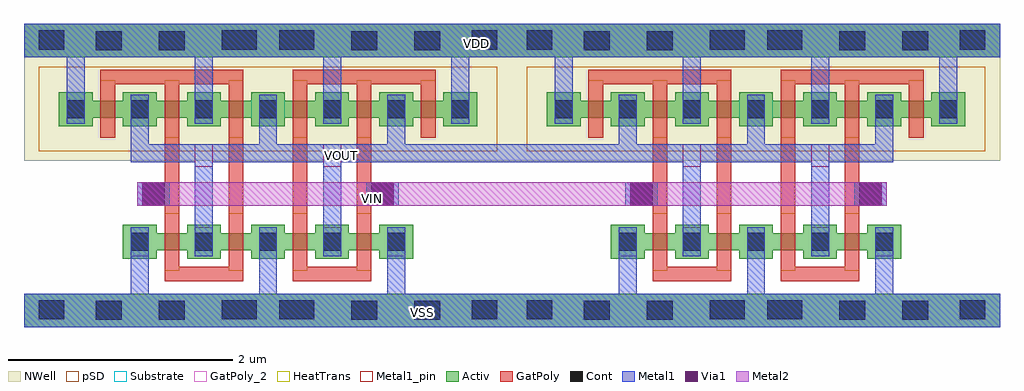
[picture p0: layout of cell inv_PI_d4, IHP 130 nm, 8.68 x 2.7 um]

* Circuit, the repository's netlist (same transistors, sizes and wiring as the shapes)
* Extracted by KLayout with SG13G2 LVS runset on : 14/01/2026 23:25

.SUBCKT inv_PI_d4 VSS VDD VIN VOUT
X$1 VSS VIN VOUT VDD inv_PI_d2
X$2 VSS VIN VOUT VDD inv_PI_d2
.ENDS inv_PI_d4

.SUBCKT inv_PI_d2 VSS VIN VOUT VDD
M$1 VSS VIN VOUT VSS sg13_lv_nmos L=0.13u W=0.6u AS=0.267p AD=0.267p PS=3.56u
+ PD=3.56u
M$5 VDD VIN VOUT VDD sg13_lv_pmos L=0.13u W=0.9u AS=0.378p AD=0.378p PS=5.04u
+ PD=5.04u
.ENDS inv_PI_d2

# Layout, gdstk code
from math import pi, radians
import gdstk
lib = gdstk.Library(unit=1e-6, precision=5e-09)
def R(c, l, rs):  # rectangles x0, y0, x1, y1
    for r in rs: c.add(gdstk.rectangle(r[:2], r[2:], *l))
def A(c, l, x, y, w, h, nx, ny, dx, dy):  # array of equal rectangles
    R(c, l, [(x+i*dx, y+j*dy, x+i*dx+w, y+j*dy+h) for i in range(nx) for j in range(ny)])
Activ = (1, 0)
GatPoly = (5, 0)
GatPoly_2 = (5, 2)
Cont = (6, 0)
Metal1 = (8, 0)
Metal1_pin = (8, 2)
Metal2 = (10, 0)
pSD = (14, 0)
Via1 = (19, 0)
NWell = (31, 0)
Substrate = (40, 0)
HeatTrans = (51, 0)

pmos_1 = lib.new_cell('pmos$1')
A(pmos_1, Activ, 0, 0, 0.3, 0.3, 4, 1, 0.57, 0)
R(pmos_1, Activ, [(0,0.075,2.01,0.225)])
A(pmos_1, GatPoly, 0.37, -0.105, 0.13, 0.51, 3, 1, 0.57, 0)
R(pmos_1, GatPoly, [(0.37,-0.105,0.5,0.405)])
A(pmos_1, Cont, 0.07, 0.07, 0.16, 0.16, 4, 1, 0.57, 0)
A(pmos_1, Metal1, 0.64, 0.02, 0.16, 0.26, 3, 1, 0.57, 0)
R(pmos_1, Metal1, [(0.07,0.02,0.23,0.28), (0.07,0.02,0.23,0.28), (0.64,0.02,0.8,0.28)])
R(pmos_1, pSD, [(-0.18,-0.225,2.19,0.525)])
R(pmos_1, NWell, [(-0.31,-0.31,2.32,0.61)])
R(pmos_1, Substrate, [(1.71,0,2.01,0.3)])
A(pmos_1, HeatTrans, 0.37, -0.105, 0.13, 0.51, 3, 1, 0.57, 0)
pmos_1.add(gdstk.Label('pmos', (0.435,0.15), layer=63, texttype=0))
pmos_1.add(gdstk.Label('pmos', (0.435,0.15), layer=51, texttype=0))
pmos_1.add(gdstk.Label('pmos', (1.005,0.15), layer=51, texttype=0))
pmos_1.add(gdstk.Label('pmos', (1.575,0.15), layer=51, texttype=0))

nmos = lib.new_cell('nmos')
A(nmos, Activ, 0, 0, 0.3, 0.3, 3, 1, 0.57, 0)
R(nmos, Activ, [(0,0.075,1.44,0.225)])
R(nmos, GatPoly, [(0.37,-0.105,0.5,0.405), (0.94,-0.105,1.07,0.405)])
R(nmos, GatPoly_2, [(0.37,-0.105,0.5,0.405)])
A(nmos, Cont, 0.07, 0.07, 0.16, 0.16, 3, 1, 0.57, 0)
A(nmos, Metal1, 0.07, 0.02, 0.16, 0.26, 3, 1, 0.57, 0)
R(nmos, Metal1_pin, [(0.07,0.02,0.23,0.28), (0.64,0.02,0.8,0.28)])
R(nmos, HeatTrans, [(0.37,-0.105,0.5,0.405), (0.94,-0.105,1.07,0.405)])
nmos.add(gdstk.Label('nmos', (0.435,0.15), layer=63, texttype=0))
nmos.add(gdstk.Label('nmos', (0.435,0.15), layer=51, texttype=0))
nmos.add(gdstk.Label('nmos', (1.005,0.15), layer=51, texttype=0))

pmos_1_1 = lib.new_cell('pmos$1$1')
A(pmos_1_1, Activ, 0, 0, 0.3, 0.3, 4, 1, 0.57, 0)
R(pmos_1_1, Activ, [(0,0.075,2.01,0.225)])
A(pmos_1_1, GatPoly, 0.37, -0.105, 0.13, 0.51, 3, 1, 0.57, 0)
R(pmos_1_1, GatPoly, [(0.37,-0.105,0.5,0.405)])
A(pmos_1_1, Cont, 0.07, 0.07, 0.16, 0.16, 4, 1, 0.57, 0)
A(pmos_1_1, Metal1, 0.64, 0.02, 0.16, 0.26, 3, 1, 0.57, 0)
R(pmos_1_1, Metal1, [(0.07,0.02,0.23,0.28), (0.07,0.02,0.23,0.28), (0.64,0.02,0.8,0.28)])
R(pmos_1_1, pSD, [(-0.18,-0.225,2.19,0.525)])
R(pmos_1_1, NWell, [(-0.31,-0.31,2.32,0.61)])
R(pmos_1_1, Substrate, [(1.71,0,2.01,0.3)])
A(pmos_1_1, HeatTrans, 0.37, -0.105, 0.13, 0.51, 3, 1, 0.57, 0)
pmos_1_1.add(gdstk.Label('pmos', (0.435,0.15), layer=63, texttype=0))
pmos_1_1.add(gdstk.Label('pmos', (0.435,0.15), layer=51, texttype=0))
pmos_1_1.add(gdstk.Label('pmos', (1.005,0.15), layer=51, texttype=0))
pmos_1_1.add(gdstk.Label('pmos', (1.575,0.15), layer=51, texttype=0))

nmos_1 = lib.new_cell('nmos$1')
A(nmos_1, Activ, 0, 0, 0.3, 0.3, 3, 1, 0.57, 0)
R(nmos_1, Activ, [(0,0.075,1.44,0.225)])
R(nmos_1, GatPoly, [(0.37,-0.105,0.5,0.405), (0.94,-0.105,1.07,0.405)])
R(nmos_1, GatPoly_2, [(0.37,-0.105,0.5,0.405)])
A(nmos_1, Cont, 0.07, 0.07, 0.16, 0.16, 3, 1, 0.57, 0)
A(nmos_1, Metal1, 0.07, 0.02, 0.16, 0.26, 3, 1, 0.57, 0)
R(nmos_1, Metal1_pin, [(0.07,0.02,0.23,0.28), (0.64,0.02,0.8,0.28)])
R(nmos_1, HeatTrans, [(0.37,-0.105,0.5,0.405), (0.94,-0.105,1.07,0.405)])
nmos_1.add(gdstk.Label('nmos', (0.435,0.15), layer=63, texttype=0))
nmos_1.add(gdstk.Label('nmos', (0.435,0.15), layer=51, texttype=0))
nmos_1.add(gdstk.Label('nmos', (1.005,0.15), layer=51, texttype=0))

inv_pi = lib.new_cell('inv_PI')
R(inv_pi, Activ, [(1.76,2.245,4.39,2.545), (1.76,2.245,4.39,2.545), (1.76,4.645,4.39,4.945), (1.76,4.645,4.39,4.945)])
R(inv_pi, GatPoly, [(3.01,2.655,3.14,4.535), (3.01,2.655,3.14,4.535), (3.01,2.655,3.71,2.785), (3.01,2.655,3.71,2.785), (3.58,2.655,3.71,4.535), (3.58,2.655,3.71,4.535), (2.81,3.33,3.01,3.53), (2.81,3.33,3.01,3.53), (2.44,3.93,2.57,4.535), (2.44,3.93,2.57,4.535), (2.44,4.405,3.71,4.535), (2.44,4.405,3.71,4.535)])
R(inv_pi, Cont, [(2.4,2.31,2.63,2.48), (2.4,2.31,2.63,2.48), (2.96,2.31,3.19,2.48), (2.96,2.31,3.19,2.48), (1.89,2.315,2.12,2.485), (1.89,2.315,2.12,2.485), (3.52,2.315,3.75,2.485), (3.52,2.315,3.75,2.485), (4.03,2.315,4.26,2.485), (4.03,2.315,4.26,2.485), (2.81,3.33,3.01,3.53), (2.81,3.33,3.01,3.53), (2.4,4.71,2.63,4.88), (2.4,4.71,2.63,4.88), (2.96,4.71,3.19,4.88), (2.96,4.71,3.19,4.88), (1.89,4.715,2.12,4.885), (1.89,4.715,2.12,4.885), (3.52,4.715,3.75,4.885), (3.52,4.715,3.75,4.885), (4.03,4.715,4.26,4.885), (4.03,4.715,4.26,4.885)])
R(inv_pi, Metal1, [(1.76,2.245,4.39,2.545), (1.76,2.245,4.39,2.545), (2.71,2.245,2.87,3.135), (2.71,2.245,2.87,3.135), (3.85,2.245,4.01,3.135), (3.85,2.245,4.01,3.135), (3.28,2.885,3.44,3.875), (3.28,2.885,3.44,3.875), (2.81,3.33,3.01,3.53), (2.81,3.33,3.01,3.53), (2.71,3.715,4.01,3.875), (2.71,3.715,4.01,3.875), (2.71,3.72,2.87,4.315), (2.71,3.72,2.87,4.315), (3.85,3.72,4.01,4.315), (3.85,3.72,4.01,4.315), (2.14,4.105,2.3,4.945), (2.14,4.105,2.3,4.945), (3.28,4.105,3.44,4.945), (3.28,4.105,3.44,4.945), (1.76,4.645,4.39,4.945), (1.76,4.645,4.39,4.945)])
R(inv_pi, Metal1_pin, [(1.76,2.245,4.39,2.545), (1.76,2.245,4.39,2.545), (2.81,3.33,3.01,3.53), (2.81,3.33,3.01,3.53), (3.28,3.675,3.44,3.875), (3.28,3.675,3.44,3.875), (1.76,4.645,4.39,4.945), (1.76,4.645,4.39,4.945)])
R(inv_pi, pSD, [(1.76,2.245,4.39,2.545), (1.76,2.245,4.39,2.545)])
R(inv_pi, NWell, [(1.76,4.645,4.39,4.945), (1.76,4.645,4.39,4.945)])
inv_pi.add(gdstk.Reference(pmos_1, (2.07,4.035)))
inv_pi.add(gdstk.Reference(nmos, (2.64,2.855)))
inv_pi.add(gdstk.Reference(pmos_1_1, (2.07,4.035)))
inv_pi.add(gdstk.Reference(nmos_1, (2.64,2.855)))
inv_pi.add(gdstk.Label('VDD', (3.075,4.795), layer=8, texttype=25))
inv_pi.add(gdstk.Label('VSS', (3.025,2.36), layer=8, texttype=25))
inv_pi.add(gdstk.Label('VIN', (2.85,3.365), layer=8, texttype=25))
inv_pi.add(gdstk.Label('VOUT', (3.28,3.75), layer=8, texttype=25))
inv_pi.add(gdstk.Label('VDD', (3.075,4.795), layer=8, texttype=25))
inv_pi.add(gdstk.Label('VSS', (3.025,2.36), layer=8, texttype=25))
inv_pi.add(gdstk.Label('VIN', (2.85,3.365), layer=8, texttype=25))
inv_pi.add(gdstk.Label('VOUT', (3.28,3.75), layer=8, texttype=25))

via_stack_1 = lib.new_cell('via_stack$1')
R(via_stack_1, Metal1, [(-0.145,-0.105,0.145,0.105)])
R(via_stack_1, Metal2, [(-0.145,-0.1,0.145,0.1)])
R(via_stack_1, Via1, [(-0.095,-0.095,0.095,0.095)])

inv_pi_d2 = lib.new_cell('inv_PI_d2')
R(inv_pi_d2, Metal2, [(2.765,3.325,5.095,3.535)])
inv_pi_d2.add(gdstk.Reference(inv_pi, (0,0)))
inv_pi_d2.add(gdstk.Reference(inv_pi, (7.86,0), rotation=pi, x_reflection=True))
inv_pi_d2.add(gdstk.Reference(via_stack_1, (2.91,3.43)))
inv_pi_d2.add(gdstk.Reference(via_stack_1, (4.95,3.43)))
inv_pi_d2.add(gdstk.Label('VIN', (2.865,3.405), layer=8, texttype=25))
inv_pi_d2.add(gdstk.Label('VOUT', (3.28,3.775), layer=8, texttype=25))
inv_pi_d2.add(gdstk.Label('VDD', (3.6,4.765), layer=8, texttype=25))
inv_pi_d2.add(gdstk.Label('VSS', (3.6,2.36), layer=8, texttype=25))

inv_pi_d4 = lib.new_cell('inv_PI_d4')
R(inv_pi_d4, Metal1, [(4.985,3.715,7.21,3.875)])
R(inv_pi_d4, Metal2, [(4.82,3.325,7.395,3.535)])
inv_pi_d4.add(gdstk.Reference(inv_pi_d2, (0,0)))
inv_pi_d4.add(gdstk.Reference(inv_pi_d2, (4.34,0)))
inv_pi_d4.add(gdstk.Label('VSS', (5.305,2.38), layer=8, texttype=25))
inv_pi_d4.add(gdstk.Label('VDD', (5.785,4.77), layer=8, texttype=25))
inv_pi_d4.add(gdstk.Label('VIN', (4.855,3.39), layer=8, texttype=25))
inv_pi_d4.add(gdstk.Label('VOUT', (4.58,3.775), layer=8, texttype=25))

lib.write_gds('inv_PI_d4.gds')
